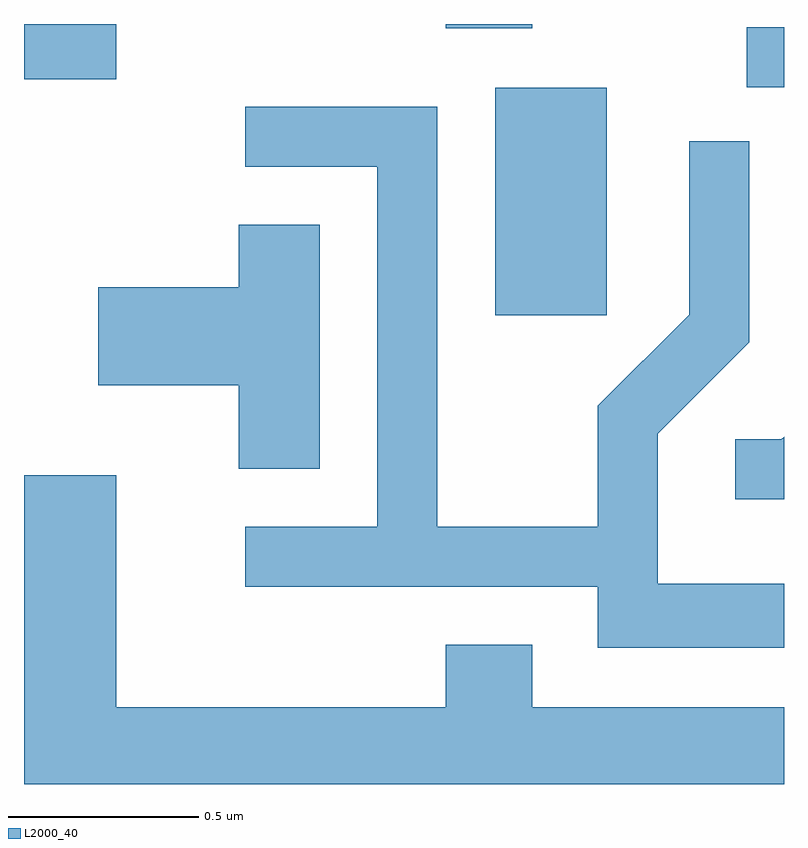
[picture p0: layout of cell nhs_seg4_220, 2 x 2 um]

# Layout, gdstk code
import gdstk
lib = gdstk.Library(unit=1e-6, precision=1e-09)
def R(c, l, rs):  # rectangles x0, y0, x1, y1
    for r in rs: c.add(gdstk.rectangle(r[:2], r[2:], *l))
def P(c, l, *ps):  # polygons
    for p in ps: c.add(gdstk.Polygon(p, *l))
L2000_40 = (2000, 40)

nhs_seg4_220 = lib.new_cell('nhs_seg4_220')
R(nhs_seg4_220, L2000_40, [(187.851,1338.216,188.144,1338.814), (188.513,1338.816,188.611,1338.974), (186.611,1338.836,186.854,1338.982), (187.721,1338.971,187.949,1338.982)])
P(nhs_seg4_220, L2000_40, [(188.611,1337.509),(188.279,1337.509),(188.279,1337.904),(188.519,1338.144),(188.519,1338.673),(188.361,1338.673),(188.361,1338.217),(188.121,1337.977),(188.121,1337.659),(187.699,1337.659),(187.699,1338.764),(187.193,1338.764),(187.193,1338.606),(187.541,1338.606),(187.541,1337.659),(187.193,1337.659),(187.193,1337.501),(188.121,1337.501),(188.121,1337.341),(188.611,1337.341)],
  [(187.389,1338.454),(187.176,1338.454),(187.176,1338.289),(186.806,1338.289),(186.806,1338.031),(187.176,1338.031),(187.176,1337.811),(187.389,1337.811)],
  [(188.611,1337.896),(188.604,1337.889),(188.483,1337.889),(188.483,1337.731),(188.611,1337.731)],
  [(188.611,1337.184),(187.949,1337.184),(187.949,1337.349),(187.721,1337.349),(187.721,1337.184),(186.854,1337.184),(186.854,1337.794),(186.611,1337.794),(186.611,1336.982),(188.611,1336.982)])

lib.write_gds('nhs_seg4_220.gds')
